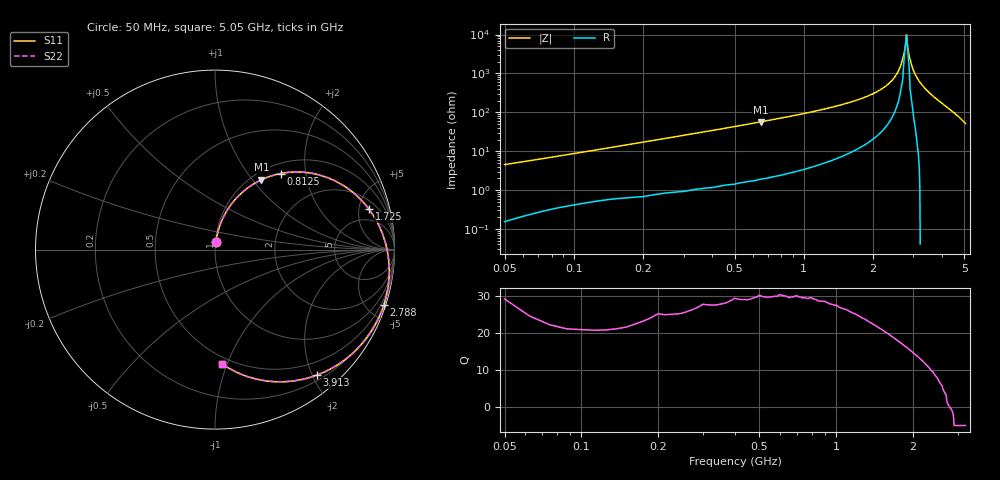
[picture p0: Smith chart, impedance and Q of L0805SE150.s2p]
! AVX Thin Film Operation		Date: May 2002
! Description: Accu-L® Series, Thin Film, SMD, RF Inductors
! Part Number: L0805150GEWTR
! 50 MHz  -  5.05 GHz
! Serial Measurements
# mhz S db R 50
!	S11		S21		S12		S22
!	dB	Phase	dB	Phase	dB	Phase	dB	Phase
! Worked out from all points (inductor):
!   401 points, 50 MHz to 5.05 GHz, reference 50 ohm
!   read as one part in series: L = 13.8 nH near 75 MHz
!   highest Q = 30 at 650 MHz (marker M1), where L = 13.9 nH
!   self-resonance near 2.775 GHz
!   S11 on the Smith chart (normalised r, x): 50 MHz: 1.01, +0.09; 812.5 MHz: 1.18, +1.45; 1.725 GHz: 3.01, +6.36; 2.788 GHz: 0.20, -6.29; 3.913 GHz: 0.28, -2.07; 5.05 GHz: 0.45, -0.96
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50  -27.35 84.1  -0.01 -2.7  -0.01 -2.7  -27.35 84.1
137.5  -19.14 80.1  -0.10 -7.1  -0.10 -7.1  -19.14 80.1
250  -14.16 74.9  -0.24 -12.7  -0.24 -12.7  -14.16 74.9
412.5  -10.09 67.3  -0.54 -20.5  -0.54 -20.5  -10.09 67.3
650  -6.62 56.4  -1.21 -31.4  -1.21 -31.4  -6.62 56.4
812.5  -5.05 49.3  -1.79 -38.4  -1.79 -38.4  -5.05 49.3
887.5  -4.46 46.1  -2.10 -41.6  -2.10 -41.6  -4.46 46.1
1262.5  -2.41 31.1  -3.99 -56.2  -3.99 -56.2  -2.41 31.1
1725  -1.04 14.7  -7.24 -71.9  -7.24 -71.9  -1.04 14.7
2200  -0.35 -0.5  -12.51 -85.7  -12.50 -85.7  -0.35 -0.5
2400  -0.20 -6.6  -16.13 -90.4  -16.10 -90.4  -0.20 -6.6
2550  -0.13 -11.1  -20.29 -92.4  -20.30 -92.4  -0.13 -11.1
2687.5  -0.10 -15.1  -27.25 -88.8  -27.20 -88.8  -0.10 -15.1
2787.5  -0.09 -18.1  -37.58 -17.6  -37.60 -17.6  -0.09 -18.1
2812.5  -0.09 -18.8  -37.40 0.8  -37.40 0.8  -0.09 -18.8
2887.5  -0.09 -21.0  -28.66 50.2  -28.70 50.2  -0.09 -21.0
3012.5  -0.12 -24.6  -21.62 62.1  -21.60 62.1  -0.12 -24.6
3162.5  -0.17 -28.9  -17.13 60.6  -17.10 60.6  -0.17 -28.9
3387.5  -0.31 -35.4  -13.07 56.0  -13.10 56.0  -0.31 -35.4
3912.5  -0.90 -50.8  -7.78 42.6  -7.78 42.6  -0.90 -50.8
4225  -1.46 -60.2  -5.81 34.2  -5.81 34.2  -1.46 -60.2
5050  -3.89 -86.3  -2.50 11.1  -2.50 11.1  -3.89 -86.3
